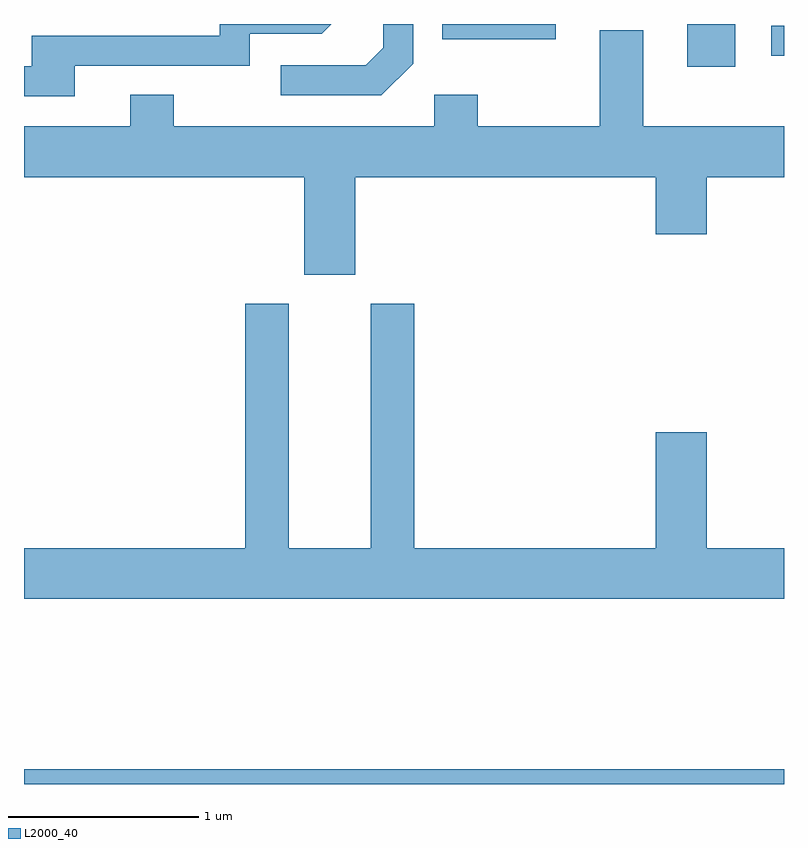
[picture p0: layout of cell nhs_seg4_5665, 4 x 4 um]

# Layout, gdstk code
import gdstk
lib = gdstk.Library(unit=1e-6, precision=1e-09)
def R(c, l, rs):  # rectangles x0, y0, x1, y1
    for r in rs: c.add(gdstk.rectangle(r[:2], r[2:], *l))
def P(c, l, *ps):  # polygons
    for p in ps: c.add(gdstk.Polygon(p, *l))
L2000_40 = (2000, 40)

nhs_seg4_5665 = lib.new_cell('nhs_seg4_5665')
R(nhs_seg4_5665, L2000_40, [(351.611,1295.982,355.611,1296.059), (355.101,1299.756,355.354,1299.982), (355.543,1299.816,355.611,1299.974), (353.811,1299.901,354.409,1299.982)])
P(nhs_seg4_5665, L2000_40, [(353.659,1299.774),(353.659,1299.982),(353.501,1299.982),(353.501,1299.857),(353.409,1299.764),(352.963,1299.764),(352.963,1299.606),(353.492,1299.606)],
  [(351.879,1299.761),(352.799,1299.761),(352.799,1299.931),(353.177,1299.931),(353.228,1299.982),(352.641,1299.982),(352.641,1299.919),(351.651,1299.919),(351.651,1299.759),(351.611,1299.759),(351.611,1299.601),(351.879,1299.601)],
  [(353.354,1299.176),(354.936,1299.176),(354.936,1298.876),(355.204,1298.876),(355.204,1299.176),(355.611,1299.176),(355.611,1299.444),(354.869,1299.444),(354.869,1299.949),(354.641,1299.949),(354.641,1299.444),(353.999,1299.444),(353.999,1299.609),(353.771,1299.609),(353.771,1299.444),(352.399,1299.444),(352.399,1299.609),(352.171,1299.609),(352.171,1299.444),(351.611,1299.444),(351.611,1299.176),(353.086,1299.176),(353.086,1298.661),(353.354,1298.661)],
  [(355.611,1297.224),(355.204,1297.224),(355.204,1297.834),(354.936,1297.834),(354.936,1297.224),(353.664,1297.224),(353.664,1298.509),(353.436,1298.509),(353.436,1297.224),(353.004,1297.224),(353.004,1298.509),(352.776,1298.509),(352.776,1297.224),(351.611,1297.224),(351.611,1296.956),(355.611,1296.956)])

lib.write_gds('nhs_seg4_5665.gds')
